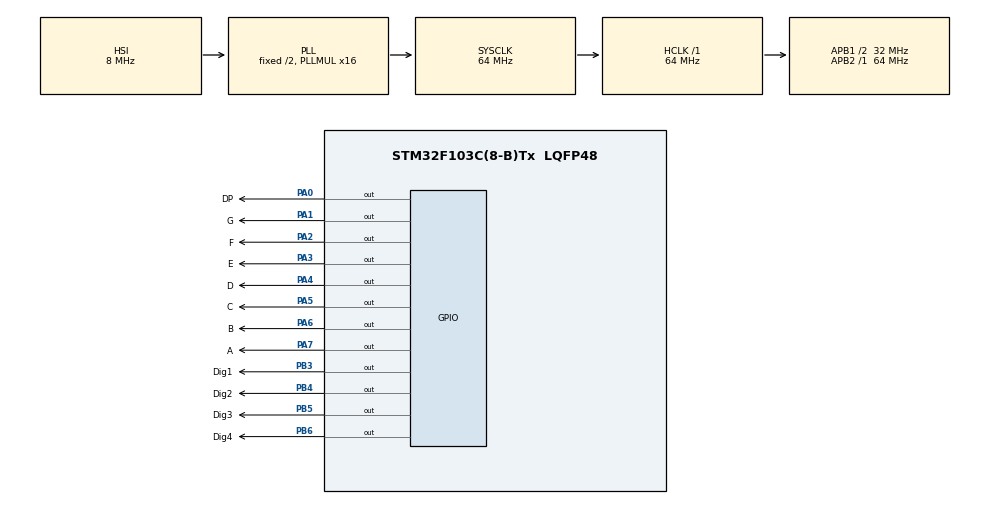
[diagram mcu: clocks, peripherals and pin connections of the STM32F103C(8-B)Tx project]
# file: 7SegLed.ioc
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Mcu.Family=STM32F1
Mcu.Name=STM32F103C(8-B)Tx
Mcu.Package=LQFP48
NVIC.PriorityGroup=NVIC_PRIORITYGROUP_4
PA0-WKUP.GPIO_Label=DP
PA0-WKUP.Signal=GPIO_Output
PA1.GPIO_Label=G
PA1.Signal=GPIO_Output
PA13.Mode=Serial_Wire
PA13.Signal=SYS_JTMS-SWDIO
PA14.Mode=Serial_Wire
PA14.Signal=SYS_JTCK-SWCLK
PA2.GPIO_Label=F
PA2.Signal=GPIO_Output
PA3.GPIO_Label=E
PA3.Signal=GPIO_Output
PA4.GPIO_Label=D
PA4.Signal=GPIO_Output
PA5.GPIO_Label=C
PA5.Signal=GPIO_Output
PA6.GPIO_Label=B
PA6.Signal=GPIO_Output
PA7.GPIO_Label=A
PA7.Signal=GPIO_Output
PB3.GPIO_Label=Dig1
PB3.Signal=GPIO_Output
PB4.GPIO_Label=Dig2
PB4.Signal=GPIO_Output
PB5.GPIO_Label=Dig3
PB5.Signal=GPIO_Output
PB6.GPIO_Label=Dig4
PB6.Signal=GPIO_Output
ProjectManager.HeapSize=0x200
ProjectManager.StackSize=0x400
ProjectManager.TargetToolchain=MDK-ARM V5.32
RCC.AHBFreq_Value=64000000
RCC.APB1CLKDivider=RCC_HCLK_DIV2
RCC.APB1Freq_Value=32000000
RCC.APB1TimFreq_Value=64000000
RCC.APB2Freq_Value=64000000
RCC.APB2TimFreq_Value=64000000
RCC.HCLKFreq_Value=64000000
RCC.PLLMUL=RCC_PLL_MUL16
RCC.SYSCLKFreq_VALUE=64000000
RCC.SYSCLKSource=RCC_SYSCLKSOURCE_PLLCLK
RCC.USBFreq_Value=64000000
board=custom

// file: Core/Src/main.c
/* USER CODE BEGIN Header */
/**
  ******************************************************************************
  * @file           : main.c
  * @brief          : Main program body
  ******************************************************************************
  * @attention
  *
  * Copyright (c) 2023 STMicroelectronics.
  * All rights reserved.
  *
  * This software is licensed under terms that can be found in the LICENSE file
  * in the root directory of this software component.
  * If no LICENSE file comes with this software, it is provided AS-IS.
  *
  ******************************************************************************
  */
/* USER CODE END Header */
#include "main.h"

void SystemClock_Config(void);
static void MX_GPIO_Init(void);

/* USER CODE BEGIN 0 */
uint32_t counter = 0;
uint8_t temp1, temp2, temp3, temp4;

#define D1_HIGH() HAL_GPIO_WritePin(GPIOB, Dig1_Pin, GPIO_PIN_SET)
#define D1_LOW() HAL_GPIO_WritePin(GPIOB, Dig1_Pin, GPIO_PIN_RESET)
#define D2_HIGH() HAL_GPIO_WritePin(GPIOB, Dig2_Pin, GPIO_PIN_SET)
#define D2_LOW() HAL_GPIO_WritePin(GPIOB, Dig2_Pin, GPIO_PIN_RESET)
#define D3_HIGH() HAL_GPIO_WritePin(GPIOB, Dig3_Pin, GPIO_PIN_SET)
#define D3_LOW() HAL_GPIO_WritePin(GPIOB, Dig3_Pin, GPIO_PIN_RESET)
#define D4_HIGH() HAL_GPIO_WritePin(GPIOB, Dig4_Pin, GPIO_PIN_SET)
#define D4_LOW() HAL_GPIO_WritePin(GPIOB, Dig4_Pin, GPIO_PIN_RESET)
uint8_t segmentNumber[10] = {
        0xc0,  // 0
        0xf9,  // 1
        0xa4,  // 2
        0xb0,  // 3
        0x99,  // 4
        0x92,  // 5
        0x82,  // 6
        0xf8,  // 7
        0x80,  // 8
        0x90   // 9
};
void SevenSegment_Update(uint8_t number){
	HAL_GPIO_WritePin(GPIOA, A_Pin, ((number>>0)&0x01));
	HAL_GPIO_WritePin(GPIOA, B_Pin, ((number>>1)&0x01));
	HAL_GPIO_WritePin(GPIOA, C_Pin, ((number>>2)&0x01));
	HAL_GPIO_WritePin(GPIOA, D_Pin, ((number>>3)&0x01));
	HAL_GPIO_WritePin(GPIOA, E_Pin, ((number>>4)&0x01));
	HAL_GPIO_WritePin(GPIOA, F_Pin, ((number>>5)&0x01));
	HAL_GPIO_WritePin(GPIOA, G_Pin, ((number>>6)&0x01));
}
/* USER CODE END 0 */

int main(void)
{

  /* MCU Configuration--------------------------------------------------------*/

  /* Reset of all peripherals, Initializes the Flash interface and the Systick. */
  HAL_Init();

  /* Configure the system clock */
  SystemClock_Config();

  /* Initialize all configured peripherals */
  MX_GPIO_Init();

  /* Infinite loop */
  while (1)
  {

    /* USER CODE BEGIN 3 */
		temp1 = counter/1000; //1 - 1st digit
	  temp2 = ((counter/100)%10); //2 - 2nd digit
	  temp3 = ((counter/10)%10); //3 - 3rd digit
	  temp4 = (counter%10); //4 - 4th digit

	  SevenSegment_Update(segmentNumber[temp1]);
		D1_HIGH();
		HAL_Delay(70);
	  D1_LOW();

	  SevenSegment_Update(segmentNumber[temp2]);
	  D2_HIGH();
	  HAL_Delay(70);
	  D2_LOW();

	  SevenSegment_Update(segmentNumber[temp3]);
	  D3_HIGH();
	  HAL_Delay(70);
	  D3_LOW();

	  SevenSegment_Update(segmentNumber[temp4]);
	  D4_HIGH();
	  HAL_Delay(70);
	  D4_LOW();

	  counter++;

	  if (counter >= 1000) {
		counter = 0;
	}
  }
  /* USER CODE END 3 */
}

void SystemClock_Config(void)
{
  RCC_OscInitTypeDef RCC_OscInitStruct = {0};
  RCC_ClkInitTypeDef RCC_ClkInitStruct = {0};

  /** Initializes the RCC Oscillators according to the specified parameters
  * in the RCC_OscInitTypeDef structure.
  */
  RCC_OscInitStruct.OscillatorType = RCC_OSCILLATORTYPE_HSI;
  RCC_OscInitStruct.HSIState = RCC_HSI_ON;
  RCC_OscInitStruct.HSICalibrationValue = RCC_HSICALIBRATION_DEFAULT;
  RCC_OscInitStruct.PLL.PLLState = RCC_PLL_ON;
  RCC_OscInitStruct.PLL.PLLSource = RCC_PLLSOURCE_HSI_DIV2;
  RCC_OscInitStruct.PLL.PLLMUL = RCC_PLL_MUL16;
  if (HAL_RCC_OscConfig(&RCC_OscInitStruct) != HAL_OK)
  {
    Error_Handler();
  }

  /** Initializes the CPU, AHB and APB buses clocks
  */
  RCC_ClkInitStruct.ClockType = RCC_CLOCKTYPE_HCLK|RCC_CLOCKTYPE_SYSCLK
                              |RCC_CLOCKTYPE_PCLK1|RCC_CLOCKTYPE_PCLK2;
  RCC_ClkInitStruct.SYSCLKSource = RCC_SYSCLKSOURCE_PLLCLK;
  RCC_ClkInitStruct.AHBCLKDivider = RCC_SYSCLK_DIV1;
  RCC_ClkInitStruct.APB1CLKDivider = RCC_HCLK_DIV2;
  RCC_ClkInitStruct.APB2CLKDivider = RCC_HCLK_DIV1;

  if (HAL_RCC_ClockConfig(&RCC_ClkInitStruct, FLASH_LATENCY_2) != HAL_OK)
  {
    Error_Handler();
  }
}

static void MX_GPIO_Init(void)
{
  GPIO_InitTypeDef GPIO_InitStruct = {0};

  /* GPIO Ports Clock Enable */
  __HAL_RCC_GPIOA_CLK_ENABLE();
  __HAL_RCC_GPIOB_CLK_ENABLE();

  /*Configure GPIO pin Output Level */
  HAL_GPIO_WritePin(GPIOA, DP_Pin|G_Pin|F_Pin|E_Pin
                          |D_Pin|C_Pin|B_Pin|A_Pin, GPIO_PIN_RESET);

  /*Configure GPIO pin Output Level */
  HAL_GPIO_WritePin(GPIOB, Dig1_Pin|Dig2_Pin|Dig3_Pin|Dig4_Pin, GPIO_PIN_RESET);

  /*Configure GPIO pins : DP_Pin G_Pin F_Pin E_Pin
                           D_Pin C_Pin B_Pin A_Pin */
  GPIO_InitStruct.Pin = DP_Pin|G_Pin|F_Pin|E_Pin
                          |D_Pin|C_Pin|B_Pin|A_Pin;
  GPIO_InitStruct.Mode = GPIO_MODE_OUTPUT_PP;
  GPIO_InitStruct.Pull = GPIO_NOPULL;
  GPIO_InitStruct.Speed = GPIO_SPEED_FREQ_LOW;
  HAL_GPIO_Init(GPIOA, &GPIO_InitStruct);

  /*Configure GPIO pins : Dig1_Pin Dig2_Pin Dig3_Pin Dig4_Pin */
  GPIO_InitStruct.Pin = Dig1_Pin|Dig2_Pin|Dig3_Pin|Dig4_Pin;
  GPIO_InitStruct.Mode = GPIO_MODE_OUTPUT_PP;
  GPIO_InitStruct.Pull = GPIO_NOPULL;
  GPIO_InitStruct.Speed = GPIO_SPEED_FREQ_LOW;
  HAL_GPIO_Init(GPIOB, &GPIO_InitStruct);

}

void Error_Handler(void)
{
  __disable_irq();
  while (1)
  {
  }
}
